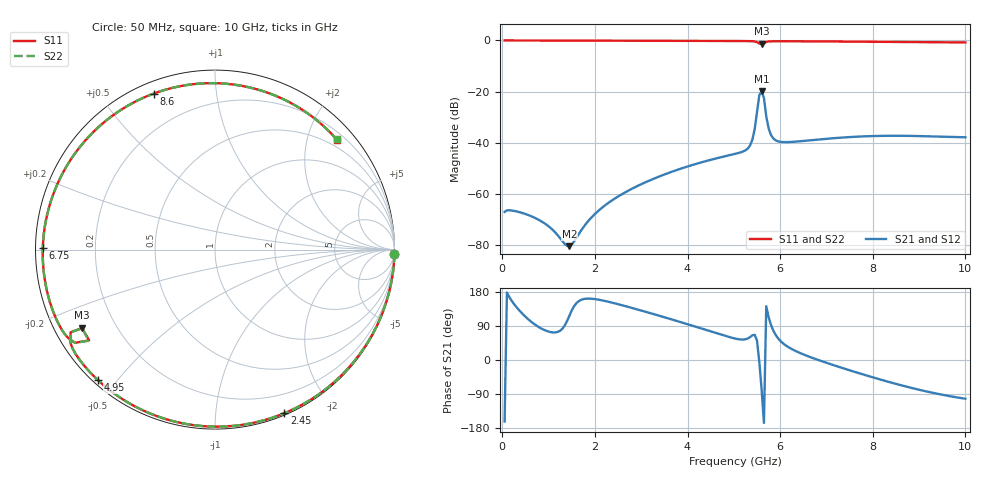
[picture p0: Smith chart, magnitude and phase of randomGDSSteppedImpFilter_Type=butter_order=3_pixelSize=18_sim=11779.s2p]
! freq	dB(S11)	phase(S11)	dB(S12)	phase(S12)
!  dB(S21)	phase(S21)	dB(S22)	phase(S22)
!S-par simulation data
#  GHz  S  DB  R 50
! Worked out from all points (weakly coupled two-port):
!   200 points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, 50 MHz to 10 GHz, reference 50 ohm
!   highest |S21| = -19.82 dB at 5.6 GHz (marker M1); lowest = -80.4 dB at 1.45 GHz (marker M2)
!   lowest |S11| = -1.3 dB at 5.6 GHz (marker M3), VSWR 13.23, Z = 4.06 - j13.5 ohm
!   |S11| at or under -10 dB: nowhere
!   |S22| runs from -1.3 to 0.0 dB; largest |S21 - S12| = 0
!   S11 on the Smith chart (normalised r, x): 50 MHz: 0, -81; 2.45 GHz: 0.02, -1.51; 4.95 GHz: 0.01, -0.45; 6.75 GHz: 0.02, +0.00; 8.6 GHz: 0.05, +0.68; 10 GHz: 0.34, +2.56
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0.05  -0.00 -1.4  -67.02 -162.3  -67.02 -162.3  -0.00 -1.4
0.75  -0.02 -21.0  -69.76 89.8  -69.76 89.8  -0.02 -21.0
1.45  -0.05 -40.2  -80.42 117.3  -80.42 117.3  -0.05 -40.2
1.75  -0.06 -48.4  -73.04 160.6  -73.04 160.6  -0.06 -48.3
2.45  -0.08 -67.0  -61.56 148.9  -61.56 148.9  -0.08 -67.0
3.4  -0.12 -91.7  -53.10 116.4  -53.10 116.4  -0.12 -91.6
4.95  -0.20 -131.8  -44.67 58.9  -44.67 58.9  -0.20 -131.7
5.05  -0.21 -134.5  -44.24 56.0  -44.24 56.0  -0.21 -134.5
5.35  -0.27 -143.5  -41.07 60.5  -41.07 60.5  -0.27 -143.5
5.45  -0.39 -147.6  -34.68 66.4  -34.68 66.4  -0.39 -147.6
5.55  -1.20 -149.6  -21.41 -5.5  -21.41 -5.5  -1.24 -149.4
5.6  -1.32 -149.6  -19.82 -77.7  -19.82 -77.7  -1.31 -149.3
5.65  -1.27 -144.2  -22.51 -166.1  -22.51 -166.1  -1.24 -144.2
5.75  -0.40 -149.0  -34.30 113.5  -34.30 113.5  -0.40 -148.9
5.85  -0.32 -152.9  -38.26 78.1  -38.26 78.1  -0.32 -152.9
6.7  -0.35 -178.9  -38.94 5.4  -38.94 5.4  -0.35 -178.8
6.75  -0.36 179.6  -38.85 3.2  -38.85 3.2  -0.36 179.7
7.55  -0.45 153.1  -37.72 -29.1  -37.72 -29.1  -0.45 153.2
8.35  -0.56 122.3  -37.26 -58.0  -37.26 -58.0  -0.56 122.4
8.6  -0.59 111.5  -37.27 -66.3  -37.27 -66.3  -0.59 111.6
9.3  -0.69 78.4  -37.52 -86.7  -37.52 -86.7  -0.69 78.5
10  -0.77 42.0  -37.85 -102.1  -37.85 -102.1  -0.78 42.2
